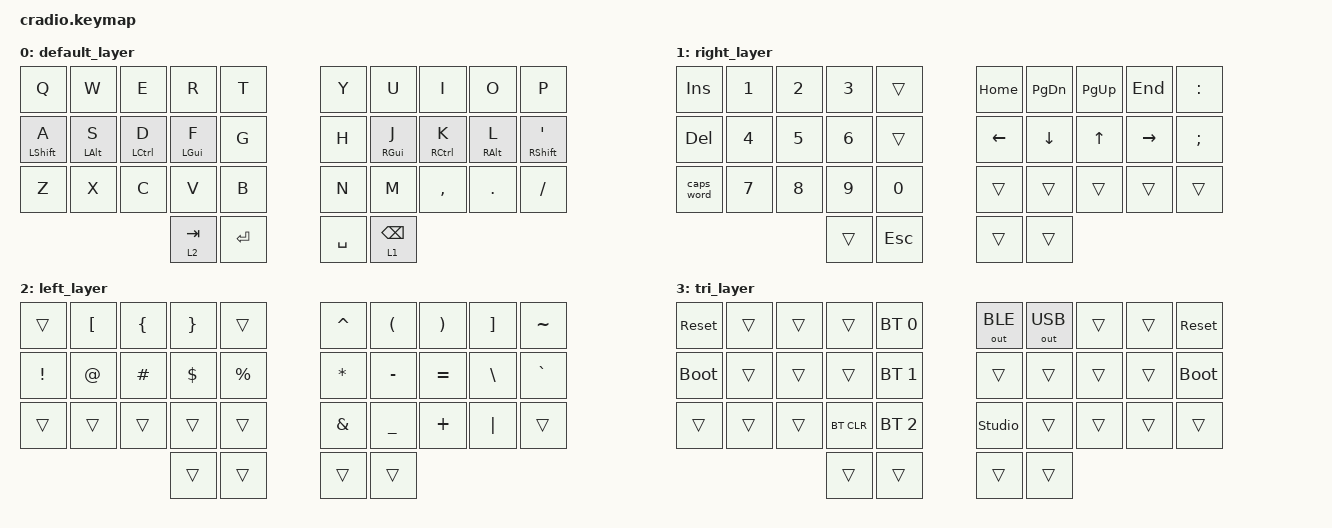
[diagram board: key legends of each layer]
// Copyright (c) 2022 The ZMK Contributors
// SPDX-License-Identifier: MIT

#include <behaviors.dtsi>
#include <dt-bindings/zmk/keys.h>
#include <dt-bindings/zmk/bt.h>
#include <dt-bindings/zmk/outputs.h>


/ {
    behaviors {
      hml: home_row_mod_left {
        compatible = "zmk,behavior-hold-tap";
        #binding-cells = <2>;
        flavor = "balanced";
        require-prior-idle-ms = <150>;
        tapping-term-ms = <280>;
        quick-tap-ms = <175>;
        bindings = <&kp>, <&kp>;
        hold-trigger-key-positions = <5 6 7 8 9 15 16 17 18 19 25 26 27 28 29 32 33>;
        hold-trigger-on-release;
      };
      hmr: home_row_mod_right {
        compatible = "zmk,behavior-hold-tap";
        #binding-cells = <2>;
        flavor = "balanced";
        require-prior-idle-ms = <150>;
        tapping-term-ms = <280>;
        quick-tap-ms = <175>;
        bindings = <&kp>, <&kp>;
        hold-trigger-key-positions = <0 1 2 3 4 10 11 12 13 14 20 21 22 23 24 30 31>;
        hold-trigger-on-release;
      };
    };

    conditional_layers {
        compatible = "zmk,conditional-layers";
        tri_layer {
            if-layers = <1 2>;
            then-layer = <3>;
        };
    };

    keymap {
        compatible = "zmk,keymap";
        default_layer {
            bindings = <
        //╭──────────┬──────────┬──────────┬──────────┬──────────╮   ╭──────────┬──────────┬──────────┬──────────┬──────────╮
        //│  Q       │  W       │  E       │  R       │  T       │   │  Y       │  U       │  I       │  O       │  P       │
            &kp Q      &kp W      &kp E      &kp R      &kp T          &kp Y      &kp U      &kp I      &kp O      &kp P
        //├──────────┼──────────┼──────────┼──────────┼──────────┤   ├──────────┼──────────┼──────────┼──────────┼──────────┤
        //│  A       │  S       │  D       │  F       │  G       │   │  H       │  J       │  K       │  L       │ ' "      │
     &hml LSHFT A  &hml LALT S  &hml LCTRL D  &hml LGUI F  &kp G       &kp H   &hmr RGUI J  &hmr RCTRL K  &hmr RALT L  &hmr RSHFT SQT
        //├──────────┼──────────┼──────────┼──────────┼──────────┤   ├──────────┼──────────┼──────────┼──────────┼──────────┤
        //│  Z       │  X       │  C       │  V       │  B       │   │  N       │  M       │ , <      │ . >      │ / ?      │
            &kp Z      &kp X      &kp C      &kp V      &kp B          &kp N      &kp M      &kp COMMA  &kp DOT    &kp FSLH
        //╰──────────┴──────────┴──────────┼──────────┼──────────┤   ├──────────┼──────────┼──────────┴──────────┴──────────╯
                                            &lt 2 TAB   &kp ENTER     &kp SPACE  &lt 1 BSPC
        //                                 ╰──────────┴──────────╯   ╰──────────┴──────────╯
            >;
        };

        right_layer {
            bindings = <
        //╭──────────┬──────────┬──────────┬──────────┬──────────╮   ╭──────────┬──────────┬──────────┬──────────┬──────────╮
        //│ INSERT   │  1       │  2       │  3       │          │   │ HOME     │ PAGE DN  │ PAGE UP  │ END      │  :       │
            &kp INS    &kp N1     &kp N2     &kp N3     &trans         &kp HOME   &kp PG_DN  &kp PG_UP  &kp END    &kp COLON
        //├──────────┼──────────┼──────────┼──────────┼──────────┤   ├──────────┼──────────┼──────────┼──────────┼──────────┤
        //│ DELETE   │  4       │  5       │  6       │          │   │ LEFT     │ DOWN     │ UP       │ RIGHT    │  ;       │
            &kp DEL    &kp N4     &kp N5     &kp N6     &trans         &kp LEFT   &kp DOWN   &kp UP   &kp RIGHT   &kp SEMI
        //├──────────┼──────────┼──────────┼──────────┼──────────┤   ├──────────┼──────────┼──────────┼──────────┼──────────┤
        //│ CAPS     │  7       │  8       │  9       │  0       │   │          │          │          │          │          │
           &caps_word  &kp N7     &kp N8     &kp N9     &kp N0         &trans     &trans     &trans     &trans     &trans
        //╰──────────┴──────────┴──────────┼──────────┼──────────┤   ├──────────┼──────────┼──────────┴──────────┴──────────╯
                                             &trans     &kp ESC        &trans     &trans
        //                                 ╰──────────┴──────────╯   ╰──────────┴──────────╯
            >;
        };

        left_layer {
            bindings = <
        //╭──────────┬──────────┬──────────┬──────────┬──────────╮   ╭──────────┬──────────┬──────────┬──────────┬──────────╮
        //│          │  [       │  {       │  }       │          │   │  ^       │  (       │  )       │  ]       │  ~       │
            &trans     &kp LBKT   &kp LBRC   &kp RBRC   &trans         &kp CARET  &kp LPAR   &kp RPAR   &kp RBKT   &kp TILDE
        //├──────────┼──────────┼──────────┼──────────┼──────────┤   ├──────────┼──────────┼──────────┼──────────┼──────────┤
        //│  !       │  @       │  #       │  $       │  %       │   │  *       │  -       │  =       │  \       │  `       │
            &kp EXCL   &kp AT     &kp HASH   &kp DLLR   &kp PRCNT      &kp ASTRK  &kp MINUS  &kp EQUAL  &kp BSLH   &kp GRAVE
        //├──────────┼──────────┼──────────┼──────────┼──────────┤   ├──────────┼──────────┼──────────┼──────────┼──────────┤
        //│          │          │          │          │          │   │  &       │  _       │  +       │  │       │          │
            &trans     &trans     &trans     &trans     &trans         &kp AMPS   &kp UNDER  &kp PLUS   &kp PIPE   &trans
        //╰──────────┴──────────┴──────────┼──────────┼──────────┤   ├──────────┼──────────┼──────────┴──────────┴──────────╯
                                             &trans     &trans         &trans     &trans
        //                                 ╰──────────┴──────────╯   ╰──────────┴──────────╯
            >;
        };

        tri_layer {
            bindings = <
        //╭──────────┬──────────┬──────────┬──────────┬──────────╮   ╭──────────┬──────────┬──────────┬──────────┬──────────╮
        //│ RESET    │          │          │          │PROFILE 0 │   │  BT OUT  │ USB OUT  │          │          │  RESET   │
           &sys_reset  &trans     &trans     &trans    &bt BT_SEL 0 &out OUT_BLE &out OUT_USB  &trans   &trans   &sys_reset
        //├──────────┼──────────┼──────────┼──────────┼──────────┤   ├──────────┼──────────┼──────────┼──────────┼──────────┤
        //│BOOTLOADER│          │          │          │PROFILE 1 │   │          │          │          │          │BOOTLOADER│
          &bootloader  &trans     &trans     &trans    &bt BT_SEL 1    &trans     &trans     &trans     &trans    &bootloader
        //├──────────┼──────────┼──────────┼──────────┼──────────┤   ├──────────┼──────────┼──────────┼──────────┼──────────┤
        //│          │          │          │ CLEAR BT │PROFILE 2 │   │ STDOUNLK │          │          │          │          │
            &trans     &trans     &trans    &bt BT_CLR &bt BT_SEL 2 &studio_unlock  &trans    &trans     &trans     &trans
        //╰──────────┴──────────┴──────────┼──────────┼──────────┤   ├──────────┼──────────┼──────────┴──────────┴──────────╯
                                             &trans     &trans         &trans     &trans
        //                                 ╰──────────┴──────────╯   ╰──────────┴──────────╯
            >;
        };
    };
};
